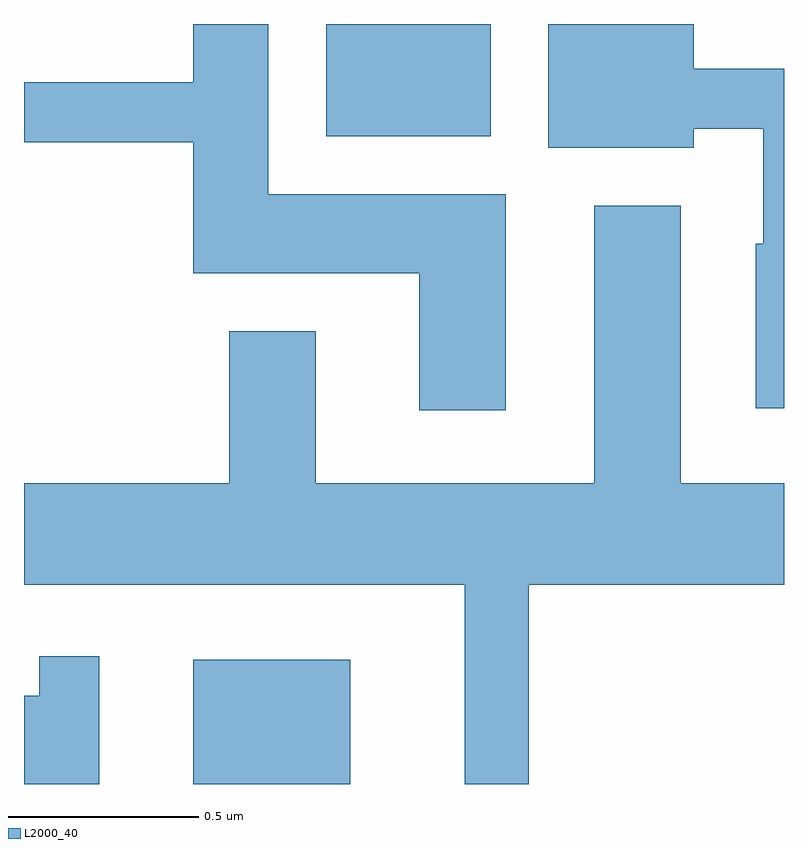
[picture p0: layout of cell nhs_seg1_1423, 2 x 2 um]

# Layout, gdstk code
import gdstk
lib = gdstk.Library(unit=1e-6, precision=1e-09)
def R(c, l, rs):  # rectangles x0, y0, x1, y1
    for r in rs: c.add(gdstk.rectangle(r[:2], r[2:], *l))
def P(c, l, *ps):  # polygons
    for p in ps: c.add(gdstk.Polygon(p, *l))
L2000_40 = (2000, 40)

nhs_seg1_1423 = lib.new_cell('nhs_seg1_1423')
R(nhs_seg1_1423, L2000_40, [(196.056,905.712,196.469,906.039), (196.406,907.416,196.839,907.712)])
P(nhs_seg1_1423, L2000_40, [(197.611,907.594),(197.374,907.594),(197.374,907.712),(196.991,907.712),(196.991,907.386),(197.374,907.386),(197.374,907.436),(197.556,907.436),(197.556,907.134),(197.536,907.134),(197.536,906.701),(197.611,906.701)],
  [(196.879,907.264),(196.254,907.264),(196.254,907.712),(196.056,907.712),(196.056,907.559),(195.611,907.559),(195.611,907.401),(196.056,907.401),(196.056,907.056),(196.651,907.056),(196.651,906.696),(196.879,906.696)],
  [(196.939,906.236),(197.611,906.236),(197.611,906.504),(197.339,906.504),(197.339,907.234),(197.111,907.234),(197.111,906.504),(196.379,906.504),(196.379,906.904),(196.151,906.904),(196.151,906.504),(195.611,906.504),(195.611,906.236),(196.771,906.236),(196.771,905.712),(196.939,905.712)],
  [(195.809,906.048),(195.651,906.048),(195.651,905.944),(195.611,905.944),(195.611,905.712),(195.809,905.712)])

lib.write_gds('nhs_seg1_1423.gds')
